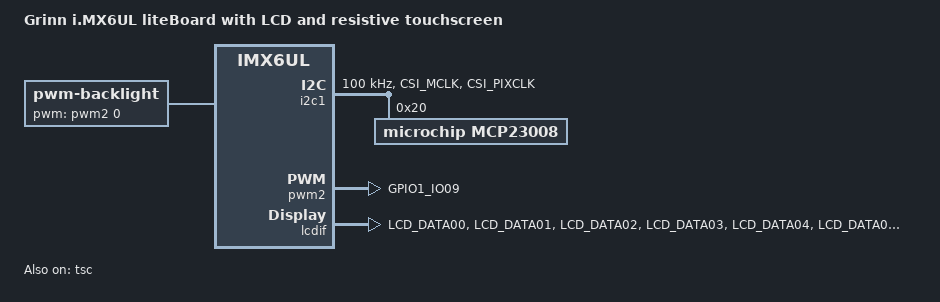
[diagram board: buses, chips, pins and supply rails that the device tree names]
/*
 * Copyright 2016 Grinn
 *
 * Author: Piotr L. Figlarek <piotr.figlarek@grinn-global.com>
 *
 * This file is dual-licensed: you can use it either under the terms
 * of the GPL or the X11 license, at your option. Note that this dual
 * licensing only applies to this file, and not this project as a
 * whole.
 *
 *  a) This file is free software; you can redistribute it and/or
 *     modify it under the terms of the GNU General Public License
 *     version 2 as published by the Free Software Foundation.
 *
 *     This file is distributed in the hope that it will be useful
 *     but WITHOUT ANY WARRANTY; without even the implied warranty of
 *     MERCHANTABILITY or FITNESS FOR A PARTICULAR PURPOSE.  See the
 *     GNU General Public License for more details.
 *
 * Or, alternatively
 *
 *  b) Permission is hereby granted, free of charge, to any person
 *     obtaining a copy of this software and associated documentation
 *     files (the "Software"), to deal in the Software without
 *     restriction, including without limitation the rights to use
 *     copy, modify, merge, publish, distribute, sublicense, and/or
 *     sell copies of the Software, and to permit persons to whom the
 *     Software is furnished to do so, subject to the following
 *     conditions:
 *
 *     The above copyright notice and this permission notice shall be
 *     included in all copies or substantial portions of the Software.
 *
 *     THE SOFTWARE IS PROVIDED , WITHOUT WARRANTY OF ANY KIND
 *     EXPRESS OR IMPLIED, INCLUDING BUT NOT LIMITED TO THE WARRANTIES
 *     OF MERCHANTABILITY, FITNESS FOR A PARTICULAR PURPOSE AND
 *     NONINFRINGEMENT. IN NO EVENT SHALL THE AUTHORS OR COPYRIGHT
 *     HOLDERS BE LIABLE FOR ANY CLAIM, DAMAGES OR OTHER LIABILITY
 *     WHETHER IN AN ACTION OF CONTRACT, TORT OR OTHERWISE, ARISING
 *     FROM, OUT OF OR IN CONNECTION WITH THE SOFTWARE OR THE USE OR
 *     OTHER DEALINGS IN THE SOFTWARE.
 */

#include "imx6ul-liteboard.dts"

/ {
	model = "Grinn i.MX6UL liteBoard with LCD and resistive touchscreen";

	backlight {
		compatible = "pwm-backlight";
		pwms = <&pwm2 0 5000000>;
		brightness-levels = <0 4 8 16 32 64 128 255>;
		default-brightness-level = <6>;
		status = "okay";
	};
};

&iomuxc {
	pinctrl_i2c1: i2c1grp {
		fsl,pins = <
			MX6UL_PAD_CSI_MCLK__I2C1_SDA   0x4001b8b0
			MX6UL_PAD_CSI_PIXCLK__I2C1_SCL 0x4001b8b0
		>;
	};

	pinctrl_lcdif_ctrl: lcdifctrlgrp {
		fsl,pins = <
			MX6UL_PAD_LCD_CLK__LCDIF_CLK	    0x79
			MX6UL_PAD_LCD_ENABLE__LCDIF_ENABLE  0x79
			MX6UL_PAD_LCD_HSYNC__LCDIF_HSYNC    0x79
			MX6UL_PAD_LCD_VSYNC__LCDIF_VSYNC    0x79
		>;
	};

	pinctrl_lcdif_dat: lcdifdatgrp {
		fsl,pins = <
			MX6UL_PAD_LCD_DATA00__LCDIF_DATA00  0x79
			MX6UL_PAD_LCD_DATA01__LCDIF_DATA01  0x79
			MX6UL_PAD_LCD_DATA02__LCDIF_DATA02  0x79
			MX6UL_PAD_LCD_DATA03__LCDIF_DATA03  0x79
			MX6UL_PAD_LCD_DATA04__LCDIF_DATA04  0x79
			MX6UL_PAD_LCD_DATA05__LCDIF_DATA05  0x79
			MX6UL_PAD_LCD_DATA06__LCDIF_DATA06  0x79
			MX6UL_PAD_LCD_DATA07__LCDIF_DATA07  0x79
			MX6UL_PAD_LCD_DATA08__LCDIF_DATA08  0x79
			MX6UL_PAD_LCD_DATA09__LCDIF_DATA09  0x79
			MX6UL_PAD_LCD_DATA10__LCDIF_DATA10  0x79
			MX6UL_PAD_LCD_DATA11__LCDIF_DATA11  0x79
			MX6UL_PAD_LCD_DATA12__LCDIF_DATA12  0x79
			MX6UL_PAD_LCD_DATA13__LCDIF_DATA13  0x79
			MX6UL_PAD_LCD_DATA14__LCDIF_DATA14  0x79
			MX6UL_PAD_LCD_DATA15__LCDIF_DATA15  0x79
			MX6UL_PAD_LCD_DATA16__LCDIF_DATA16  0x79
			MX6UL_PAD_LCD_DATA17__LCDIF_DATA17  0x79
			MX6UL_PAD_LCD_DATA18__LCDIF_DATA18  0x79
			MX6UL_PAD_LCD_DATA19__LCDIF_DATA19  0x79
			MX6UL_PAD_LCD_DATA20__LCDIF_DATA20  0x79
			MX6UL_PAD_LCD_DATA21__LCDIF_DATA21  0x79
			MX6UL_PAD_LCD_DATA22__LCDIF_DATA22  0x79
			MX6UL_PAD_LCD_DATA23__LCDIF_DATA23  0x79
		>;
	};

	pinctrl_pwm2: pwm2 {
		fsl,pins = <
			MX6UL_PAD_GPIO1_IO09__PWM2_OUT   0x110b0
		>;
	};

	pinctrl_tsc: tscgrp {
		fsl,pins = <
			MX6UL_PAD_GPIO1_IO01__GPIO1_IO01	0xb0
			MX6UL_PAD_GPIO1_IO02__GPIO1_IO02	0xb0
			MX6UL_PAD_GPIO1_IO03__GPIO1_IO03	0xb0
			MX6UL_PAD_GPIO1_IO04__GPIO1_IO04	0xb0
		>;
	};
};

&i2c1 {
	clock-frequency = <100000>;
	pinctrl-names = "default";
	pinctrl-0 = <&pinctrl_i2c1>;
	status = "okay";

	mcp23008: mcp230008@20 {
		compatible = "microchip,mcp23008";
		gpio-controller;
		#gpio-cells = <2>;
		reg = <0x20>;

		lcd_en {
			gpio-hog;
			gpios = <7 0>;
			output-high;
			line-name = "lcd-en";
		};
	};
};

&pwm2 {
	pinctrl-names = "default";
	pinctrl-0 = <&pinctrl_pwm2>;
	status = "okay";
	clocks = <&clks IMX6UL_CLK_PWM2>,
		<&clks IMX6UL_CLK_PWM2>;
};

&lcdif {
	pinctrl-names = "default";
	pinctrl-0 = <&pinctrl_lcdif_dat
		&pinctrl_lcdif_ctrl>;
	display = <&display0>;
	status = "okay";

	display0: display {
		bits-per-pixel = <32>;
		bus-width = <24>;

		display-timings {
			native-mode = <&timing0>;
			timing0: timing0 {
				clock-frequency = <30000000>;

				hactive = <800>;
				vactive = <480>;

				hfront-porch = <210>;
				hsync-len = <2>;
				hback-porch = <46>;

				vfront-porch = <22>;
				vsync-len = <2>;
				vback-porch = <23>;

				hsync-active = <1>;
				vsync-active = <1>;
				de-active = <1>;
				pixelclk-active = <0>;
			};
		};
	};
};

&tsc {
	pinctrl-names = "default";
	pinctrl-0 = <&pinctrl_tsc>;
	status = "okay";
	xnur-gpio = <&gpio1 4 GPIO_ACTIVE_LOW>;
	measure_delay_time = <0xffff>;
	pre_charge_time = <0xfff>;
};
